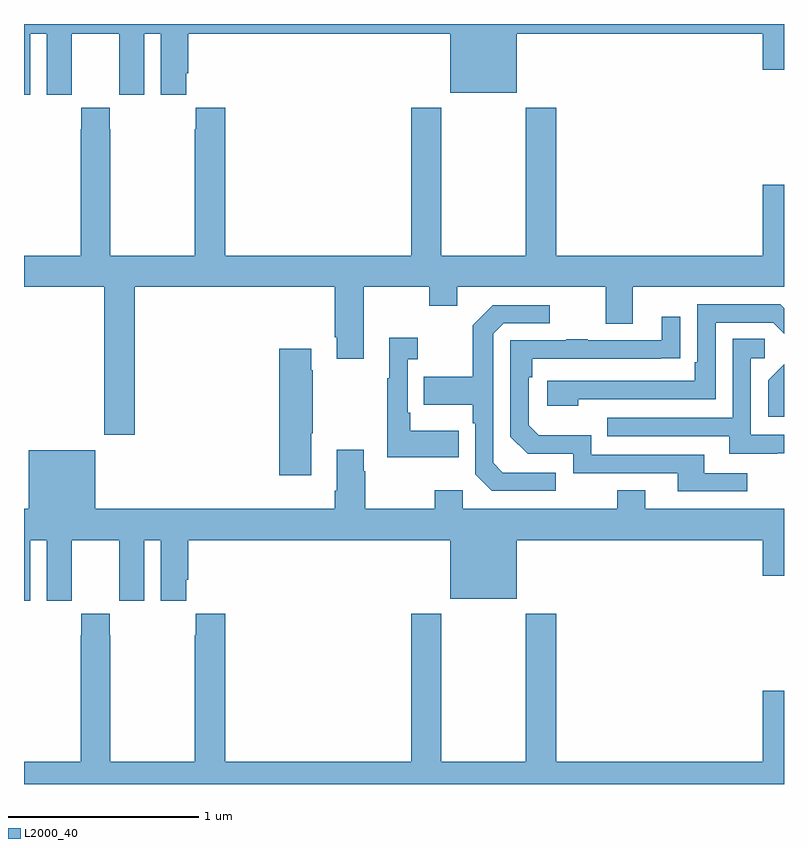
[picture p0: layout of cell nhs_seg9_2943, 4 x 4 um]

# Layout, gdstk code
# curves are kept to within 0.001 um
import gdstk
lib = gdstk.Library(unit=1e-6, precision=1e-09)
def P(c, l, *ps):  # polygons
    for p in ps: c.add(gdstk.Polygon(p, *l))
L2000_40 = (2000, 40)

nhs_seg9_2943 = lib.new_cell('nhs_seg9_2943')
P(nhs_seg9_2943, L2000_40, [(281.032,1168.448),(281.12,1168.448),(281.12,1168.128),(281.25,1168.128),(281.25,1168.24),(281.251,1168.24),(281.251,1168.448),(281.501,1168.448),(281.501,1168.24),(281.502,1168.24),(281.502,1168.128),(281.632,1168.128),(281.632,1168.448),(281.72,1168.448),(281.72,1168.128),(281.854,1168.128),(281.854,1168.24),(281.864,1168.24),(281.864,1168.448),(283.244,1168.448),(283.244,1168.139),(283.594,1168.139),(283.594,1168.448),(284.888,1168.448),(284.888,1168.26),(285,1168.26),(285,1168.5),(281,1168.5),(281,1168.128),(281.032,1168.128)],
  [(281.582,1167.116),(282.635,1167.116),(282.635,1166.851),(282.647,1166.851),(282.647,1166.739),(282.787,1166.739),(282.787,1167.116),(283.132,1167.116),(283.132,1167.017),(283.279,1167.017),(283.279,1167.116),(284.063,1167.116),(284.063,1166.922),(284.203,1166.922),(284.203,1167.116),(285,1167.116),(285,1167.655),(284.888,1167.655),(284.888,1167.28),(283.802,1167.28),(283.802,1168.06),(283.642,1168.06),(283.642,1167.28),(283.197,1167.28),(283.197,1168.06),(283.037,1168.06),(283.037,1167.28),(282.059,1167.28),(282.059,1168.06),(281.905,1168.06),(281.905,1167.947),(281.899,1167.947),(281.899,1167.28),(281.454,1167.28),(281.454,1167.947),(281.451,1167.947),(281.451,1168.06),(281.301,1168.06),(281.301,1167.947),(281.299,1167.947),(281.299,1167.28),(281,1167.28),(281,1167.116),(281.422,1167.116),(281.422,1166.337),(281.582,1166.337)],
  [(283.916,1166.526),(284.64,1166.526),(284.64,1166.928),(284.943,1166.928),(285,1166.871),(285,1167.003),(284.979,1167.024),(284.544,1167.024),(284.544,1166.719),(284.531,1166.719),(284.531,1166.622),(283.755,1166.622),(283.755,1166.492),(283.916,1166.492)],
  [(283.798,1166.139),(283.521,1166.139),(283.47,1166.19),(283.47,1166.871),(283.524,1166.925),(283.768,1166.925),(283.768,1167.021),(283.467,1167.021),(283.362,1166.915),(283.362,1166.643),(283.105,1166.643),(283.105,1166.495),(283.362,1166.495),(283.362,1166.399),(283.374,1166.399),(283.374,1166.13),(283.461,1166.043),(283.798,1166.043)],
  [(284.806,1166.136),(284.581,1166.136),(284.581,1166.232),(283.986,1166.232),(283.986,1166.335),(283.709,1166.335),(283.656,1166.388),(283.656,1166.642),(283.676,1166.642),(283.676,1166.739),(284.453,1166.74),(284.453,1166.959),(284.357,1166.959),(284.357,1166.835),(283.967,1166.835),(283.967,1166.84),(283.855,1166.84),(283.855,1166.835),(283.56,1166.835),(283.56,1166.328),(283.65,1166.238),(283.89,1166.238),(283.89,1166.136),(284.441,1166.136),(284.441,1166.04),(284.806,1166.04)],
  [(283.289,1166.359),(283.033,1166.359),(283.033,1166.455),(283.02,1166.455),(283.02,1166.735),(283.072,1166.735),(283.072,1166.848),(282.923,1166.848),(282.923,1166.635),(282.912,1166.635),(282.912,1166.219),(283.289,1166.219)],
  [(284.965,1166.241),(285,1166.241),(285,1166.337),(284.826,1166.337),(284.826,1166.742),(284.899,1166.742),(284.899,1166.843),(284.73,1166.843),(284.73,1166.427),(284.071,1166.427),(284.071,1166.331),(284.711,1166.331),(284.711,1166.237),(284.965,1166.237)],
  [(282.511,1166.347),(282.519,1166.347),(282.519,1166.678),(282.511,1166.678),(282.511,1166.791),(282.344,1166.791),(282.344,1166.124),(282.511,1166.124)],
  [(285,1166.71),(284.916,1166.626),(284.916,1166.433),(285,1166.433)],
  [(281.032,1165.784),(281.12,1165.784),(281.12,1165.464),(281.25,1165.464),(281.25,1165.576),(281.251,1165.576),(281.251,1165.784),(281.501,1165.784),(281.501,1165.576),(281.502,1165.576),(281.502,1165.464),(281.632,1165.464),(281.632,1165.784),(281.72,1165.784),(281.72,1165.464),(281.854,1165.464),(281.854,1165.576),(281.864,1165.576),(281.864,1165.784),(283.244,1165.784),(283.244,1165.475),(283.594,1165.475),(283.594,1165.784),(284.888,1165.784),(284.888,1165.596),(285,1165.596),(285,1165.948),(284.269,1165.948),(284.269,1166.047),(284.122,1166.047),(284.122,1165.948),(283.308,1165.948),(283.308,1166.047),(283.162,1166.047),(283.162,1165.948),(282.795,1165.948),(282.795,1166.147),(282.787,1166.147),(282.787,1166.26),(282.647,1166.26),(282.647,1166.044),(282.635,1166.044),(282.635,1165.948),(281.374,1165.948),(281.374,1166.257),(281.024,1166.257),(281.024,1165.948),(281,1165.948),(281,1165.464),(281.032,1165.464)],
  [(285,1164.991),(284.888,1164.991),(284.888,1164.616),(283.802,1164.616),(283.802,1165.396),(283.642,1165.396),(283.642,1164.616),(283.197,1164.616),(283.197,1165.396),(283.037,1165.396),(283.037,1164.616),(282.059,1164.616),(282.059,1165.396),(281.905,1165.396),(281.905,1165.283),(281.899,1165.283),(281.899,1164.616),(281.454,1164.616),(281.454,1165.283),(281.451,1165.283),(281.451,1165.396),(281.301,1165.396),(281.301,1165.283),(281.299,1165.283),(281.299,1164.616),(281,1164.616),(281,1164.5),(285,1164.5)])

lib.write_gds('nhs_seg9_2943.gds')
